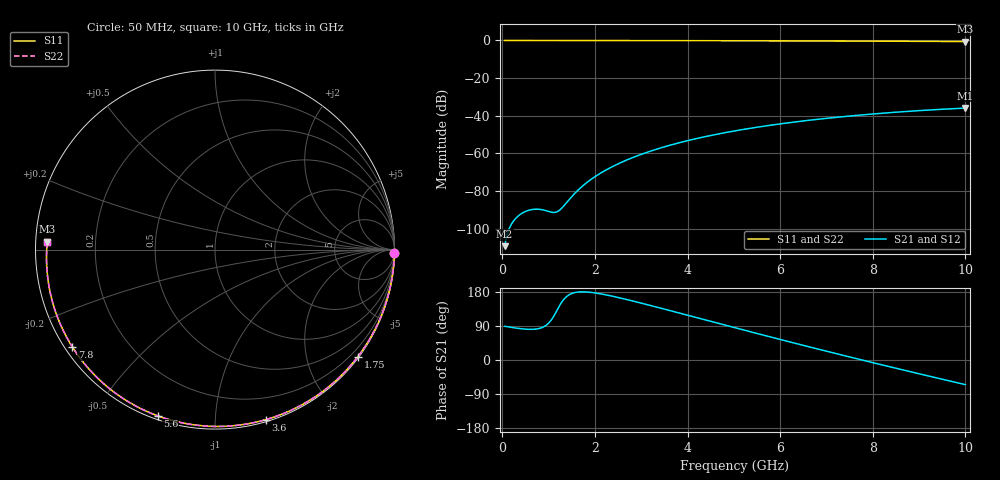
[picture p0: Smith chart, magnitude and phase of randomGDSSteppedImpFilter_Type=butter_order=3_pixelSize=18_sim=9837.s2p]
! freq	dB(S11)	phase(S11)	dB(S12)	phase(S12)
!  dB(S21)	phase(S21)	dB(S22)	phase(S22)
!S-par simulation data
#  GHz  S  DB  R 50
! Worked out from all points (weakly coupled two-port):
!   200 points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, 50 MHz to 10 GHz, reference 50 ohm
!   highest |S21| = -35.94 dB at 10 GHz (marker M1); lowest = -109.3 dB at 50 MHz (marker M2)
!   lowest |S11| = -0.6 dB at 10 GHz (marker M3), VSWR 29.96, Z = 1.67 + j1.19 ohm
!   |S11| at or under -10 dB: nowhere
!   |S22| runs from -0.6 to 0.0 dB; largest |S21 - S12| = 0
!   S11 on the Smith chart (normalised r, x): 50 MHz: open; 1.75 GHz: 0.03, -3.00; 3.6 GHz: 0.02, -1.35; 5.6 GHz: 0.02, -0.71; 7.8 GHz: 0.02, -0.31; 10 GHz: 0.03, +0.02
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0.05  -0.00 -1.1  -109.34 89.0  -109.34 89.0  -0.00 -1.1
0.4  -0.01 -8.6  -92.26 82.6  -92.26 82.6  -0.01 -8.6
0.8  -0.02 -17.1  -89.76 83.3  -89.76 83.3  -0.02 -17.1
1.6  -0.04 -33.8  -80.39 178.7  -80.39 178.7  -0.04 -33.8
1.65  -0.04 -34.8  -79.21 179.5  -79.21 179.5  -0.04 -34.8
1.75  -0.05 -36.8  -77.02 179.9  -77.02 179.9  -0.05 -36.8
2.05  -0.05 -43.0  -71.63 176.1  -71.63 176.1  -0.05 -43.0
2.25  -0.06 -47.0  -68.72 171.6  -68.72 171.6  -0.06 -47.0
2.45  -0.06 -51.0  -66.18 166.4  -66.18 166.4  -0.06 -51.0
2.9  -0.08 -59.9  -61.45 153.2  -61.45 153.2  -0.08 -59.9
3.4  -0.09 -69.5  -57.28 137.5  -57.28 137.5  -0.09 -69.5
3.6  -0.10 -73.3  -55.84 131.1  -55.84 131.1  -0.10 -73.3
4.3  -0.12 -86.2  -51.56 108.5  -51.56 108.5  -0.12 -86.2
5.05  -0.15 -99.5  -47.94 84.4  -47.94 84.4  -0.15 -99.5
5.6  -0.18 -109.0  -45.74 66.8  -45.74 66.8  -0.18 -109.0
6.15  -0.21 -118.4  -43.85 49.5  -43.85 49.5  -0.21 -118.4
6.7  -0.25 -127.5  -42.21 32.4  -42.21 32.4  -0.25 -127.5
7.25  -0.29 -136.6  -40.77 15.6  -40.77 15.6  -0.29 -136.6
7.8  -0.33 -145.6  -39.51 -1.0  -39.51 -1.0  -0.33 -145.6
8.35  -0.39 -154.7  -38.41 -17.4  -38.41 -17.4  -0.39 -154.7
9.2  -0.48 -168.9  -36.98 -42.2  -36.98 -42.2  -0.48 -168.9
10  -0.58 177.3  -35.94 -65.0  -35.94 -65.0  -0.58 177.3
